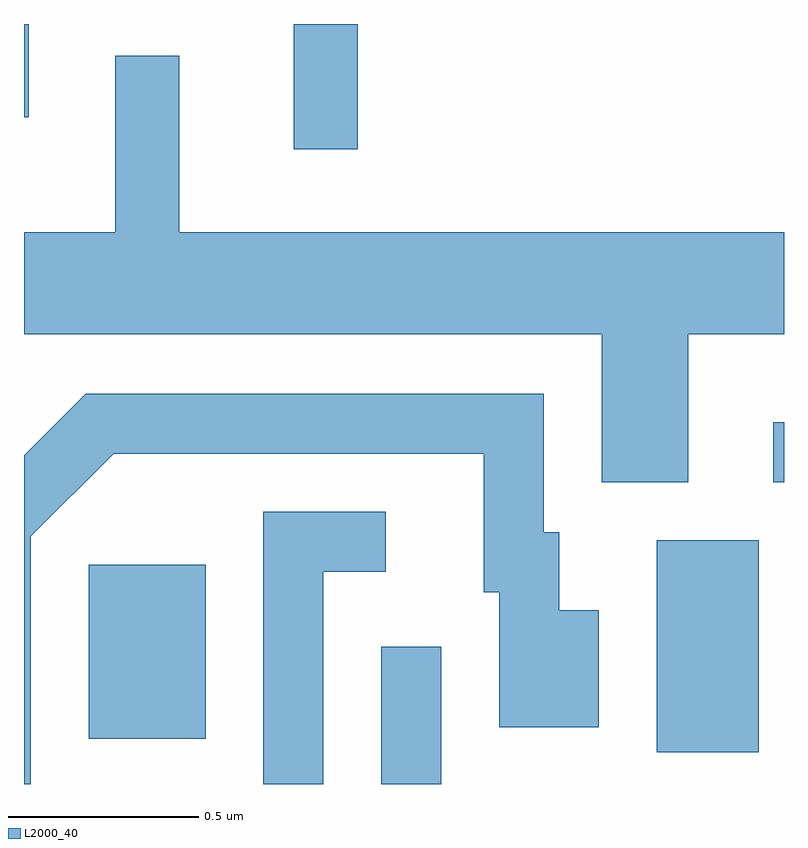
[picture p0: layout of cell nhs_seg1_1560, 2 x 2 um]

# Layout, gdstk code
import gdstk
lib = gdstk.Library(unit=1e-6, precision=1e-09)
def R(c, l, rs):  # rectangles x0, y0, x1, y1
    for r in rs: c.add(gdstk.rectangle(r[:2], r[2:], *l))
def P(c, l, *ps):  # polygons
    for p in ps: c.add(gdstk.Polygon(p, *l))
L2000_40 = (2000, 40)

nhs_seg1_1560 = lib.new_cell('nhs_seg1_1560')
R(nhs_seg1_1560, L2000_40, [(197.551,911.712,197.709,912.073), (198.276,911.796,198.544,912.354), (196.781,911.831,197.089,912.289), (198.583,912.506,198.611,912.664), (197.321,913.383,197.489,913.712), (196.611,913.466,196.624,913.712)])
P(nhs_seg1_1560, L2000_40, [(198.359,912.896),(198.611,912.896),(198.611,913.164),(197.019,913.164),(197.019,913.628),(196.851,913.628),(196.851,913.164),(196.611,913.164),(196.611,912.896),(198.131,912.896),(198.131,912.506),(198.359,912.506)],
  [(196.629,912.364),(196.847,912.581),(197.821,912.581),(197.821,912.216),(197.861,912.216),(197.861,911.861),(198.124,911.861),(198.124,912.169),(198.019,912.169),(198.019,912.374),(197.979,912.374),(197.979,912.739),(196.774,912.739),(196.611,912.577),(196.611,911.712),(196.629,911.712)],
  [(197.399,912.271),(197.563,912.271),(197.563,912.429),(197.241,912.429),(197.241,911.712),(197.399,911.712)])

lib.write_gds('nhs_seg1_1560.gds')
